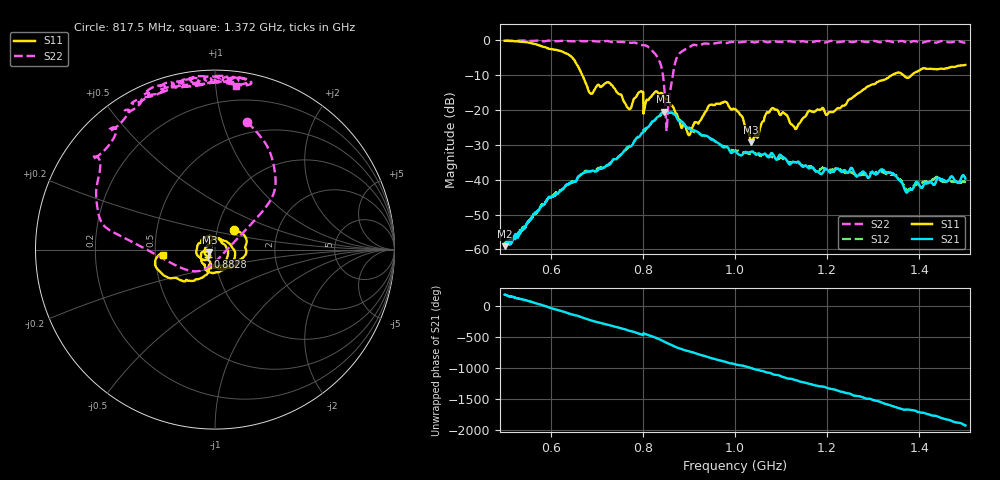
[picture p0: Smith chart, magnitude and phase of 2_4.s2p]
!Agilent Technologies,E8364B,US42250235,A.06.04.32
!Agilent E8364B: A.06.04.32
!Date: Thursday, October 01, 2020 11:11:17
!Correction: S11(Full 2 Port(1,2)) S21(Full 2 Port(1,2)) S12(Full 2 Port(1,2)) S22(Full 2 Port(1,2))
!S2P File: Measurements: S11, S21, S12, S22:
# Hz S  dB  R 50
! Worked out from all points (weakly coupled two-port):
!   2650 points, 500 MHz to 1.5 GHz, reference 50 ohm
!   highest |S21| = -20.50 dB at 845.4 MHz (marker M1); lowest = -59.1 dB at 500.4 MHz (marker M2)
!   lowest |S11| = -29.3 dB at 1.035 GHz (marker M3), VSWR 1.07, Z = 47 - j1.33 ohm
!   |S11| at or under -10 dB: 668.5 MHz to 1.341 GHz (672.4 MHz wide, 66.9 % of centre); 1.365 GHz to 1.384 GHz (19.18 MHz wide, 1.4 % of centre)
!   |S22| runs from -26.1 to -0.1 dB; largest |S21 - S12| = 0.025
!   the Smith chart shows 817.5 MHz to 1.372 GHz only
!   S11 on the Smith chart (normalised r, x): 817.5 MHz: 1.21, +0.26; 882.8 MHz: 0.92, -0.07; 1.372 GHz: 0.55, -0.04
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5e8  -0.22 -175.2  -58.94 176.5  -58.61 -175.6  -0.25 136.4
5.003775e8  -0.22 -175.3  -59.07 178.1  -58.97 -171.0  -0.25 136.3
5.894677e8  -2.16 127.9  -46.45 -9.2  -46.24 1.0  -0.31 128.1
6.340128e8  -3.86 93.3  -41.62 -113.9  -41.60 -102.1  -0.30 125.4
6.668554e8  -9.57 58.0  -38.48 172.6  -38.45 -175.2  -0.34 121.5
6.86108e8  -15.35 72.4  -37.63 124.0  -37.62 137.2  -0.25 117.1
7.695357e8  -19.71 59.1  -30.55 -44.3  -30.57 -26.1  -0.79 101.3
8.174783e8  -16.37 44.5  -23.85 -127.2  -24.05 -142.9  -2.70 75.8
8.337108e8  -15.33 7.1  -21.92 -176.7  -22.26 167.9  -5.47 50.9
8.454134e8  -16.20 -19.5  -20.50 142.3  -20.48 127.5  -12.09 35.3
8.537184e8  -16.91 -39.9  -20.86 113.8  -20.88 98.4  -21.52 -101.0
8.691959e8  -20.31 -89.5  -21.34 60.4  -21.33 46.4  -7.09 175.8
8.82786e8  -24.84 -136.0  -23.29 24.4  -23.21 4.9  -3.47 164.1
9.292186e8  -22.02 33.5  -27.38 -82.3  -27.38 -100.1  -1.19 129.3
1.000189e9  -19.83 -134.9  -31.85 134.0  -31.65 114.0  -0.54 119.5
1.035296e9  -29.34 -155.6  -31.98 72.6  -32.53 46.9  -0.53 115.0
1.080596e9  -19.56 -165.4  -32.43 -21.1  -33.61 -46.6  -0.32 104.7
1.130804e9  -25.46 48.1  -35.03 -119.7  -34.86 -144.5  -0.68 102.1
1.166667e9  -20.49 -72.7  -36.51 170.2  -36.34 145.3  -0.58 96.8
1.333522e9  -10.67 -146.8  -38.03 -158.9  -38.51 178.5  -0.31 84.2
1.37165e9  -10.75 -173.7  -43.67 122.7  -42.94 102.0  -0.72 82.8
1.5e9  -7.16 140.6  -39.69 -132.4  -40.81 -148.4  -0.72 60.5
